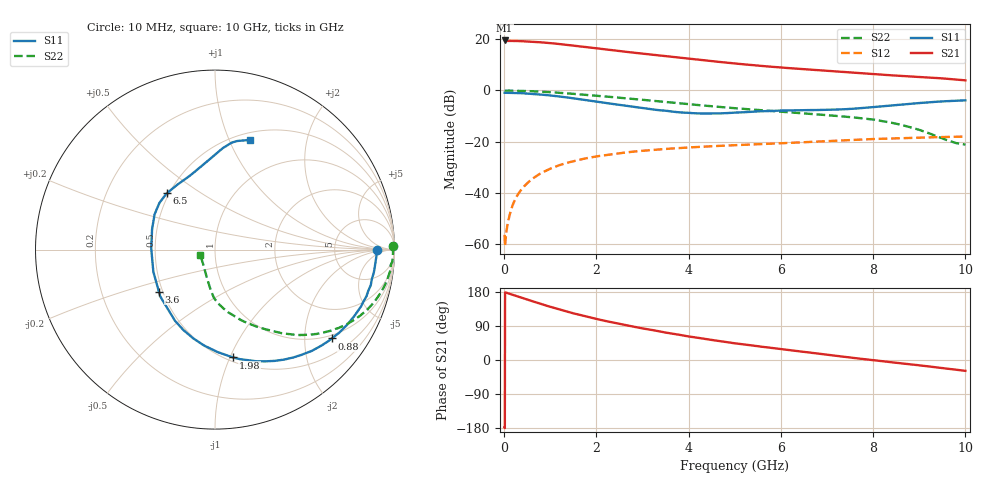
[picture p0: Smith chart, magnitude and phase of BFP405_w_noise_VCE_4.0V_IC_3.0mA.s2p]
! Infineon Technologies  Discrete & RF Semiconductors
! BFP405
! VCE =  4.0 V,  IC =  3.0 mA
! Common Emitter S-Parameters:  Jan 2016
# GHz  S  MA  R  50
!  f  S11  S21  S12  S22
! GHz  MAG  ANG  MAG  ANG  MAG  ANG  MAG  ANG
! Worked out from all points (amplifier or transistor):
!   233 points, 10 MHz to 10 GHz, reference 50 ohm
!   highest |S21| = 19.6 dB at 10 MHz (marker M1)
!   |S21| within 3 dB of that: start of sweep to 1.966 GHz
!   unconditionally stable (mu >= 1): 12.83 MHz to 15.8 MHz; 4.024 GHz to end of sweep
!   at 200 MHz: K = 0.13, MSG = 31.7 dB, |S12| = -44.2 dB
!   at 1.74 GHz: K = 0.40, MSG = 21.9 dB, |S12| = -26.7 dB
!   at 10 GHz: K = 1.54, MAG = 6.7 dB, |S12| = -18.0 dB
!   lowest NFmin = 0.98 dB at 900 MHz
!   S11 on the Smith chart (normalised r, x): 10 MHz: 19, +0; 880 MHz: 0.90, -2.70; 1.98 GHz: 0.54, -1.03; 3.6 GHz: 0.48, -0.26; 6.5 GHz: 0.49, +0.37; 10 GHz: 0.58, +1.19
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0.01  0.8999 0.0  9.507 -177.9  0.0015 -8.4  0.9945 1.0
0.02  0.898 -0.6  9.392 178.3  0.0009 56.5  0.9886 0.1
0.095  0.8971 -4.1  9.329 175.5  0.003 79.9  0.9924 -1.8
0.26  0.8892 -11.0  9.29 169.1  0.0081 81.8  0.9828 -5.3
0.5  0.8729 -21.3  9.099 159.6  0.0153 77.7  0.9736 -10.0
0.88  0.8187 -37.2  8.621 144.9  0.0263 70.6  0.9388 -17.3
1.1  0.7811 -46.2  8.278 136.8  0.0321 66.6  0.9133 -21.3
1.3  0.7428 -54.0  7.919 129.8  0.0369 63.0  0.8868 -24.7
1.68  0.6672 -68.8  7.238 117.6  0.0452 56.6  0.8336 -30.5
1.98  0.6096 -80.3  6.707 108.9  0.0508 52.1  0.7916 -34.6
2.38  0.5411 -95.6  6.071 98.2  0.0574 46.9  0.7373 -39.5
2.62  0.5055 -104.6  5.725 92.3  0.061 44.1  0.7059 -42.2
3  0.455 -119.3  5.242 83.4  0.0661 39.9  0.657 -46.4
3.4  0.4079 -135.0  4.782 74.8  0.0707 35.8  0.6068 -50.4
3.6  0.3903 -143.2  4.575 70.5  0.0728 34.0  0.5831 -52.4
4  0.365 -160.3  4.187 62.1  0.0768 30.5  0.5384 -56.4
4.5  0.3553 178.9  3.751 52.7  0.0812 26.5  0.4906 -61.3
5.1  0.3714 159.4  3.306 42.6  0.0857 22.3  0.4427 -66.8
6.5  0.4132 130.7  2.612 21.3  0.0973 14.6  0.3569 -78.1
6.8  0.4145 124.1  2.491 16.9  0.1002 12.8  0.3397 -80.5
8.4  0.5097 92.6  1.977 -6.0  0.1151 1.9  0.2336 -95.1
10  0.6406 72.5  1.576 -28.6  0.1255 -8.6  0.0873 -159.0
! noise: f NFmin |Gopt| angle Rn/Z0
0.9  0.98  0.49  14  0.37
1.8  1.3  0.39  24  0.34
2.4  1.48  0.33  33  0.33
3  1.51  0.31  50  0.31
4  1.71  0.19  75  0.25
5  2.06  0.14  114  0.21
